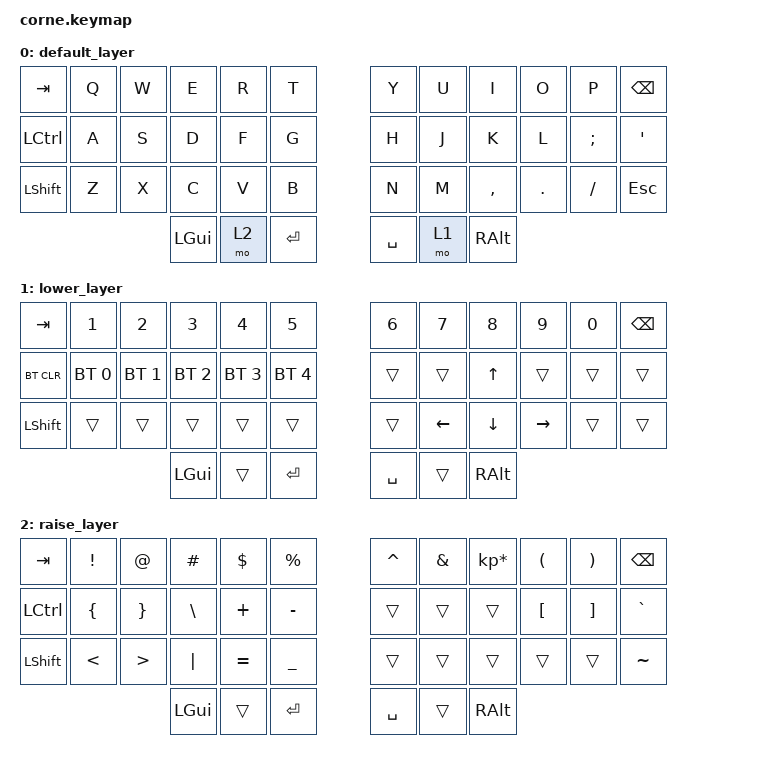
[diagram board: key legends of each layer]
/*
 * Copyright (c) 2020 The ZMK Contributors
 *
 * SPDX-License-Identifier: MIT
 */

#include <behaviors.dtsi>
#include <dt-bindings/zmk/keys.h>
#include <dt-bindings/zmk/bt.h>

/ {
        keymap {
                compatible = "zmk,keymap";

                default_layer {
// -----------------------------------------------------------------------------------------
// |  TAB |  Q  |  W  |  E  |  R  |  T  |   |  Y  |  U   |  I  |  O  |  P  | BKSP |
// | CTRL |  A  |  S  |  D  |  F  |  G  |   |  H  |  J   |  K  |  L  |  ;  |  '   |
// | SHFT |  Z  |  X  |  C  |  V  |  B  |   |  N  |  M   |  ,  |  .  |  /  | ESC  |
//                    | GUI | RSE | ENT |   | SPC | LWR  | ALT |
                        bindings = <
   &kp TAB   &kp Q &kp W &kp E &kp R &kp T   &kp Y &kp U  &kp I     &kp O   &kp P    &kp BSPC
   &kp LCTRL &kp A &kp S &kp D &kp F &kp G   &kp H &kp J  &kp K     &kp L   &kp SEMI &kp SQT
   &kp LSHFT &kp Z &kp X &kp C &kp V &kp B   &kp N &kp M  &kp COMMA &kp DOT &kp FSLH &kp ESC
                  &kp LGUI &mo 2 &kp RET     &kp SPACE &mo 1 &kp RALT
                        >;
                };
                lower_layer {
// -----------------------------------------------------------------------------------------
// |  TAB |  1  |  2  |  3  |  4  |  5  |   |  6  |  7  |  8  |  9  |  0  | BKSP |
// | BTCLR| BT1 | BT2 | BT3 | BT4 | BT5 |   |     |     |  UP |     |     |      |
// | SHFT |     |     |     |     |     |   |     | LFT | DWN | RGT |     |      |
//                    | GUI |     | ENT |   | SPC |     | ALT |
                        bindings = <
   &kp TAB    &kp N1       &kp N2       &kp N3       &kp N4       &kp N5         &kp N6    &kp N7   &kp N8   &kp N9    &kp N0 &kp BSPC
   &bt BT_CLR &bt BT_SEL 0 &bt BT_SEL 1 &bt BT_SEL 2 &bt BT_SEL 3 &bt BT_SEL 4   &trans    &trans   &kp UP   &trans    &trans &trans
   &kp LSHFT  &trans       &trans       &trans       &trans       &trans         &trans    &kp LEFT &kp DOWN &kp RIGHT &trans &trans
                          	        &kp LGUI     &trans       &kp RET        &kp SPACE &trans   &kp RALT
                        >;
                };

                raise_layer {
// -----------------------------------------------------------------------------------------
// |  TAB |  !  |  @  |  #  |  $  |  %  |   |  ^  |  &  |  *  |  (  |  )  | BKSP |
// | CTRL |  {  |  }  |  \  |  +  |  -  |   |     |     |     |  [  |  ]  |  `   |
// | SHFT |  <  |  >  |  |  |  =  |  _  |   |     |     |     |     | "|" |  ~   |
//                    | GUI |     | ENT |   | SPC |     | ALT |
                        bindings = <
   &kp  TAB  &kp EXCL &kp AT   &kp HASH  &kp DLLR  &kp PRCNT   &kp CARET     &kp AMPS &kp KP_MULTIPLY &kp LPAR &kp RPAR &kp BSPC
   &kp LCTRL &kp LBRC &kp RBRC &kp BSLH  &kp PLUS  &kp MINUS   &trans &trans &trans   &kp LBKT        &kp RBKT &kp GRAVE
   &kp LSHFT &kp LT   &kp GT   &kp PIPE  &kp EQUAL &kp UNDER   &trans &trans &trans   &trans          &trans   &kp TILDE
                    	     &kp LGUI &trans   &kp RET         &kp SPACE   &trans    &kp RALT
                        >;
                };
        };
};
